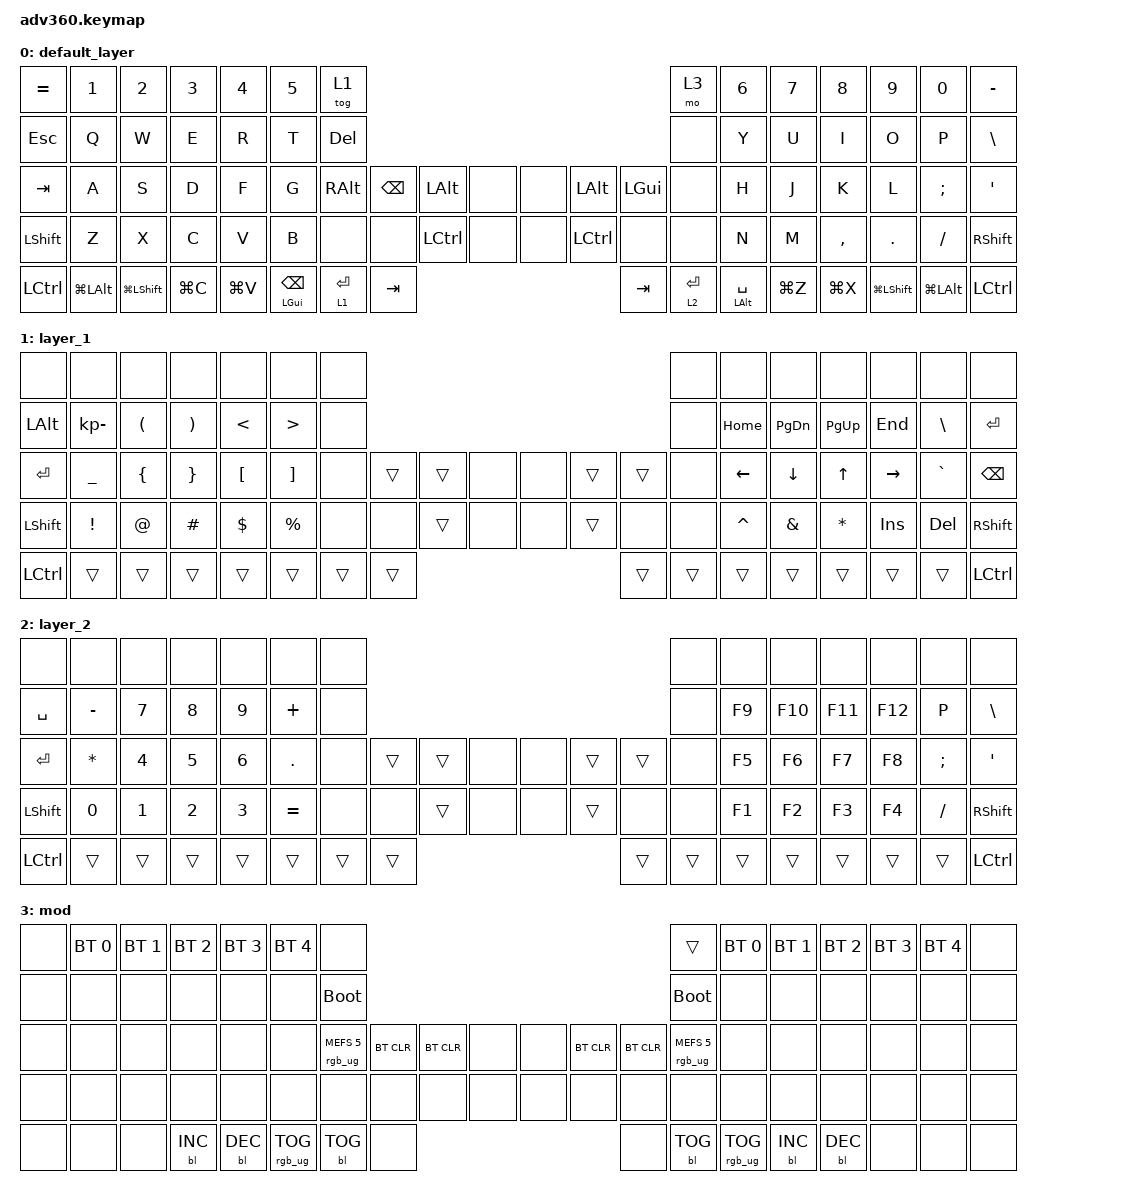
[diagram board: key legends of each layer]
#include <behaviors.dtsi>
#include <dt-bindings/zmk/keys.h>
#include <dt-bindings/zmk/bt.h>
#include <dt-bindings/zmk/rgb.h>
#include <dt-bindings/zmk/backlight.h>

/ {
    behaviors {
      #include "macros.dtsi"

      hm: homerow_mods {
          compatible = "zmk,behavior-hold-tap";
          label = "HOMEROW_MODS";
          #binding-cells = <2>;
          tapping-term-ms = <200>;
          quick_tap_ms = <175>;
          flavor = "tap-preferred";
          bindings = <&kp>, <&kp>;
      };
    };

  keymap {
    compatible = "zmk,keymap";

    default_layer {
      bindings = <
        &kp EQUAL &kp N1       &kp N2        &kp N3    &kp N4     &kp N5 &tog 1                                                                                              &mo 3 &kp N6 &kp N7    &kp N8     &kp N9        &kp N0       &kp MINUS
        &kp ESC   &kp Q        &kp W         &kp E     &kp R      &kp T  &kp DELETE                                                                                          &none &kp Y  &kp U     &kp I      &kp O         &kp P        &kp BSLH
        &kp TAB   &kp A        &kp S         &kp D     &kp F      &kp G  &kp RALT             &kp BSPC       &kp LALT      &none &none &kp LALT  &kp LGUI                    &none &kp H  &kp J     &kp K      &kp L         &kp SEMI     &kp SQT
        &kp LSHFT &kp Z        &kp X         &kp C     &kp V      &kp B         &none         &none          &kp LCTRL     &none &none &kp LCTRL &none        &none                &kp N  &kp M     &kp COMMA  &kp DOT       &kp FSLH     &kp RSHFT
        &kp LCTRL &kp LG(LALT) &kp LG(LSHFT) &kp LG(C) &kp LG(V)                &mt LGUI BSPC &lt 1 ENTER    &kp TAB                   &kp TAB   &lt 2 ENTER  &mt LALT SPACE              &kp LG(Z) &kp LG(X)  &kp LG(LSHFT) &kp LG(LALT) &kp LCTRL
      >;
    };
    layer_1 {
      bindings = <
        &none        &none           &none                 &none                     &none             &none              &none                                                               &none &none     &none          &none         &none      &none         &none
        &kp LEFT_ALT &kp KP_MINUS    &kp LEFT_PARENTHESIS  &kp RIGHT_PARENTHESIS     &kp LESS_THAN     &kp GREATER_THAN   &none                                                               &none &kp HOME  &kp PAGE_DOWN  &kp PAGE_UP   &kp END    &kp BACKSLASH &kp ENTER
        &kp ENTER    &kp UNDERSCORE  &kp LEFT_BRACE        &kp RIGHT_BRACE           &kp LEFT_BRACKET  &kp RIGHT_BRACKET  &none         &trans   &trans  &none &none &trans &trans            &none &kp LEFT  &kp DOWN       &kp UP        &kp RIGHT  &kp GRAVE     &kp BACKSPACE
        &kp LSHFT    &kp EXCLAMATION &kp AT                &kp POUND                 &kp DOLLAR        &kp PERCENT             &none    &none    &trans  &none &none &trans &none     &none         &kp CARET &kp AMPERSAND  &kp ASTERISK  &kp INSERT &kp DELETE    &kp RSHFT
        &kp LCTRL    &trans          &trans                &trans                    &trans                                    &trans   &trans   &trans              &trans &trans    &trans                  &trans         &trans        &trans     &trans        &kp LCTRL
      >;
    };
    layer_2 {
      bindings = <
        &none     &none        &none        &none         &none      &none     &none                                                                    &none  &none   &none     &none     &none    &none     &none
        &kp SPACE &kp MINUS    &kp N7       &kp N8        &kp N9     &kp PLUS  &none                                                                    &none  &kp F9  &kp F10   &kp F11   &kp F12  &kp P     &kp BSLH
        &kp ENTER &kp ASTRK    &kp N4       &kp N5        &kp N6     &kp DOT   &none            &trans   &trans  &none &none &trans  &trans             &none  &kp F5  &kp F6    &kp F7    &kp F8   &kp SEMI  &kp SQT
        &kp LSHFT &kp N0       &kp N1       &kp N2        &kp N3     &kp EQUAL         &none    &none    &trans  &none &none &trans  &none  &none              &kp F1  &kp F2    &kp F3    &kp F4   &kp FSLH  &kp RSHFT
        &kp LCTRL &trans       &trans       &trans        &trans                       &trans   &trans   &trans              &trans  &trans &trans                     &trans    &trans    &trans   &trans    &kp LCTRL
      >;
    };
    mod {
      bindings = <
        &none &bt BT_SEL 0 &bt BT_SEL 1 &bt BT_SEL 2 &bt BT_SEL 3 &bt BT_SEL 4 &none                                                                                                          &trans                 &bt BT_SEL 0 &bt BT_SEL 1 &bt BT_SEL 2 &bt BT_SEL 3 &bt BT_SEL 4 &none
        &none &none        &none        &none        &none        &none        &bootloader                                                                                                    &bootloader            &none        &none        &none        &none        &none        &none
        &none &none        &none        &none        &none        &none        &rgb_ug RGB_MEFS_CMD 5                 &bt BT_CLR &bt BT_CLR &none &none &bt BT_CLR &bt BT_CLR                 &rgb_ug RGB_MEFS_CMD 5 &none        &none        &none        &none        &none        &none
        &none &none        &none        &none        &none        &none                               &none           &none      &none      &none &none &none      &none      &none                                  &none        &none        &none        &none        &none        &none
        &none &none        &none        &bl BL_INC   &bl BL_DEC                                       &rgb_ug RGB_TOG &bl BL_TOG &none                  &none      &bl BL_TOG &rgb_ug RGB_TOG                                     &bl BL_INC   &bl BL_DEC   &none        &none        &none
      >;
    };
  };
};
